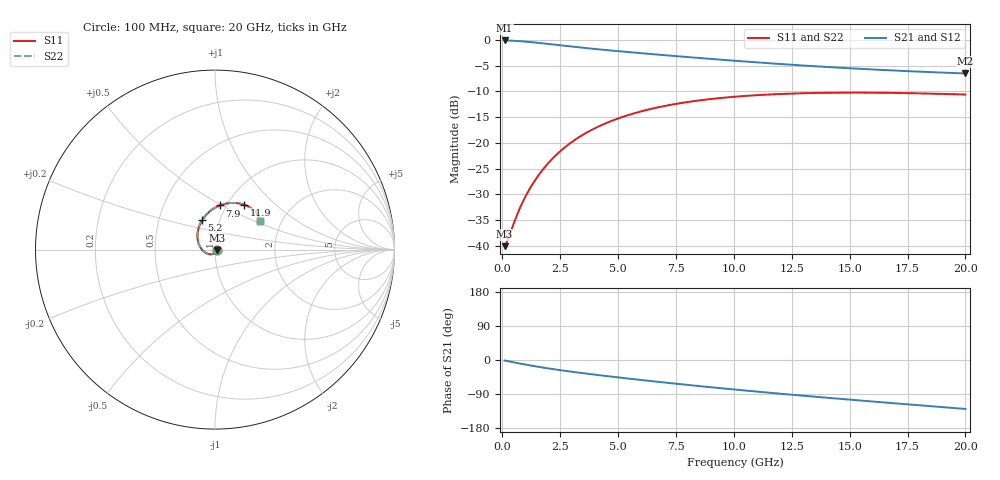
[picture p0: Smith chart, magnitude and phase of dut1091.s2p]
! Touchstone file exported from HFSS 2024.1.0
!  File:  C:/UserFiles/LocalFiles/RDL_TSV_Batchsim/temp_RDL_TSV_1091_1780097958.aedt
!  Generated:  07:51:02 AM May 30, 2026
!  Design:  RDL_TSV
!  Project:  temp_RDL_TSV_1091_1780097958
!  Setup:  Setup1
!  Solution:  Sweep
! Variables:
!  dtsv = 9.16um
!  hbump = 3um
!  htsv = 87.24um
!  ldown = 208.49um
!  lrdl = 212.42um
!  p = 40
!  p1 = 48.74um
!  rhole = 10um
!  subl = 1475.15um
!  t = 450um
!  tdown = 4.4um
!  trdl = 2.15um
!  viad = 10um
!  wdown = 23.7um
!  wrdl = 23.09um
!  xbump = 18um
# GHz S MA R 50.000000
! Terminal data exported
! Port[1] = TM1_1_T1
! Port[2] = TM1_4_T1
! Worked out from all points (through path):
!   200 points, 100 MHz to 20 GHz, reference 50 ohm
!   highest |S21| = -0.09 dB at 100 MHz (marker M1); lowest = -6.5 dB at 20 GHz (marker M2)
!   group delay of S21, straight-line fit = 16.9 ps
!   lowest |S11| = -40.1 dB at 100 MHz (marker M3), VSWR 1.02, Z = 50.9 - j0.327 ohm
!   |S11| at or under -10 dB: start of sweep to end of sweep
!   |S22| runs from -40.1 to -10.2 dB; largest |S21 - S12| = 3.1e-14
!   S11 on the Smith chart (normalised r, x): 100 MHz: 1.02, -0.01; 5.2 GHz: 0.82, +0.28; 7.9 GHz: 0.93, +0.49; 11.9 GHz: 1.19, +0.65; 20 GHz: 1.55, +0.54
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0.1  0.009882 -18.9  0.9901 -1.3  0.9901 -1.3  0.009882 -19.0
! Gamma 0 0 0 0
! Port Impedance 50 0 50 0
0.2  0.0109 -36.5  0.989 -2.5  0.989 -2.5  0.0109 -36.5
0.6  0.01896 -87.7  0.9798 -7.4  0.9798 -7.4  0.01896 -87.7
0.9  0.02708 -112.9  0.9692 -10.9  0.9692 -10.9  0.02709 -112.9
1.2  0.03622 -132.7  0.956 -14.2  0.956 -14.2  0.03623 -132.7
1.5  0.04615 -149.1  0.9411 -17.4  0.9411 -17.4  0.04616 -149.1
1.9  0.06032 -167.2  0.92 -21.3  0.92 -21.3  0.06032 -167.2
2.4  0.07893 174.3  0.8934 -25.9  0.8934 -25.9  0.07893 174.3
2.9  0.09791 159.1  0.868 -30.2  0.868 -30.2  0.09792 159.1
3.5  0.1205 144.2  0.8398 -34.9  0.8398 -34.9  0.1205 144.2
4.3  0.1492 128.2  0.806 -40.9  0.806 -40.9  0.1492 128.2
5.2  0.1788 113.8  0.7719 -47.3  0.7719 -47.3  0.1788 113.8
6  0.2024 103.3  0.7442 -52.8  0.7442 -52.8  0.2024 103.3
6.8  0.2232 94.2  0.7184 -58.1  0.7184 -58.1  0.2232 94.3
7.9  0.2474 83.7  0.6853 -65.1  0.6853 -65.1  0.2474 83.7
8.9  0.2651 75.7  0.6575 -71.3  0.6575 -71.3  0.2651 75.7
10.1  0.2816 67.4  0.6269 -78.3  0.6269 -78.3  0.2816 67.4
11.9  0.2979 57.2  0.5864 -88.4  0.5864 -88.4  0.2979 57.2
13.4  0.3051 50.3  0.5575 -96.4  0.5575 -96.4  0.305 50.3
15  0.3077 44.3  0.5311 -104.6  0.5311 -104.6  0.3077 44.3
16.7  0.3062 39.2  0.5076 -113.1  0.5076 -113.1  0.3061 39.2
20  0.2949 32.7  0.473 -129.1  0.473 -129.1  0.2948 32.7
